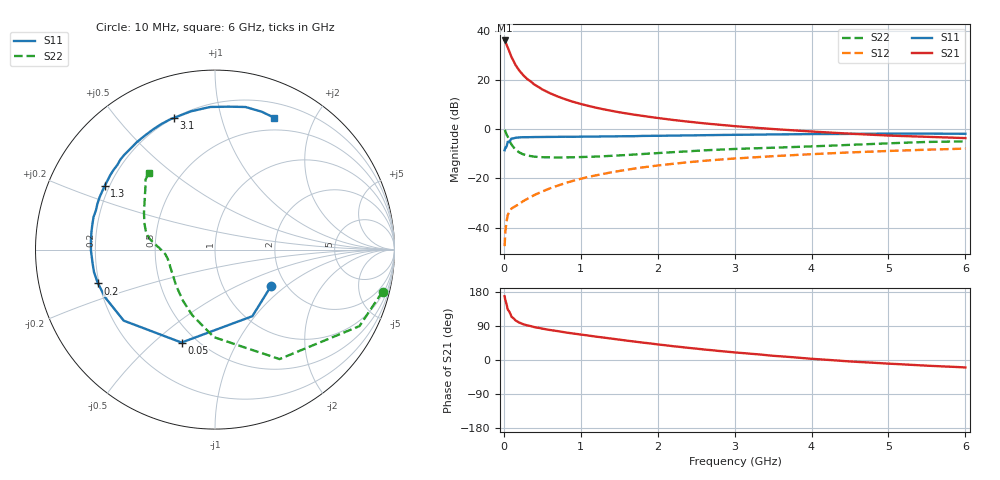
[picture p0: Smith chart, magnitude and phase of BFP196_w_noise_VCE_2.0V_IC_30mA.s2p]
! Infineon Technologies  Discrete & RF Semiconductors
! BFP196
! VCE =  2.0 V,  IC =  30 mA
! Common Emitter S-Parameters:  Jan 2017
# GHz  S  MA  R  50
!  f  S11  S21  S12  S22
! GHz  MAG  ANG  MAG  ANG  MAG  ANG  MAG  ANG
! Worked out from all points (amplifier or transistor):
!   77 points, 10 MHz to 6 GHz, reference 50 ohm
!   highest |S21| = 36.0 dB at 10 MHz (marker M1)
!   |S21| within 3 dB of that: start of sweep to 52.18 MHz
!   unconditionally stable (mu >= 1): 625.3 MHz to 2.544 GHz
!   at 130 MHz: K = 0.51, MSG = 29.6 dB, |S12| = -31.7 dB
!   at 2.2 GHz: K = 1.01, MAG = 8.2 dB, |S12| = -14.1 dB
!   at 6 GHz: K = 0.96, MSG = 2.1 dB, |S12| = -7.9 dB
!   lowest NFmin = 1.22 dB at 450 MHz
!   S11 on the Smith chart (normalised r, x): 10 MHz: 1.67, -0.79; 50 MHz: 0.42, -0.62; 200 MHz: 0.19, -0.14; 1.3 GHz: 0.18, +0.26; 3.1 GHz: 0.20, +0.72; 6 GHz: 0.36, +1.49
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0.01  0.3725 -33.3  63.24 168.3  0.0042 83.0  0.9623 -14.1
0.02  0.4254 -60.7  60.45 157.7  0.0085 74.4  0.9109 -27.9
0.05  0.5504 -109.8  45.59 133.5  0.0179 54.0  0.7081 -59.5
0.1  0.6445 -142.1  28.82 113.9  0.0244 47.3  0.4879 -90.7
0.15  0.6664 -156.1  20.31 104.7  0.0273 47.1  0.3864 -109.2
0.2  0.6791 -163.9  15.57 98.8  0.03 49.7  0.3371 -121.8
0.25  0.6857 -169.4  12.57 94.6  0.0344 51.5  0.3086 -130.9
0.3  0.6862 -173.3  10.54 91.6  0.038 54.2  0.2928 -138.2
0.4  0.6911 -179.5  7.988 86.6  0.0461 57.4  0.2758 -147.8
0.5  0.6931 175.8  6.404 82.7  0.0541 60.0  0.2693 -154.6
0.6  0.6955 171.8  5.364 79.2  0.0628 60.7  0.2672 -159.7
0.7  0.6974 168.5  4.602 76.2  0.0712 61.3  0.2644 -163.4
0.9  0.6985 161.8  3.59 70.0  0.0892 61.4  0.2684 -168.7
1.1  0.7061 155.9  2.964 64.5  0.1071 60.6  0.2742 -172.6
1.3  0.7099 150.1  2.522 59.1  0.1238 58.6  0.2819 -175.8
1.6  0.7188 141.8  2.075 51.1  0.1499 55.6  0.2982 -179.6
2.1  0.7355 128.6  1.61 38.9  0.1901 49.3  0.3334 175.0
2.6  0.7534 117.2  1.314 27.8  0.2273 42.7  0.3707 170.4
3.1  0.7689 107.2  1.12 18.4  0.2586 36.3  0.4001 164.7
4.1  0.795 90.4  0.877 1.9  0.3152 24.3  0.4528 150.7
5.1  0.8114 76.6  0.732 -10.6  0.3645 12.7  0.5218 138.0
6  0.8055 65.7  0.658 -19.6  0.4025 2.7  0.5647 131.0
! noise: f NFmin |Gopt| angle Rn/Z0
0.45  1.22  0.34  169  0.05
0.9  1.38  0.45  -172  0.06
1.9  2.24  0.68  -135  0.25
2.4  2.64  0.71  -121  0.6
